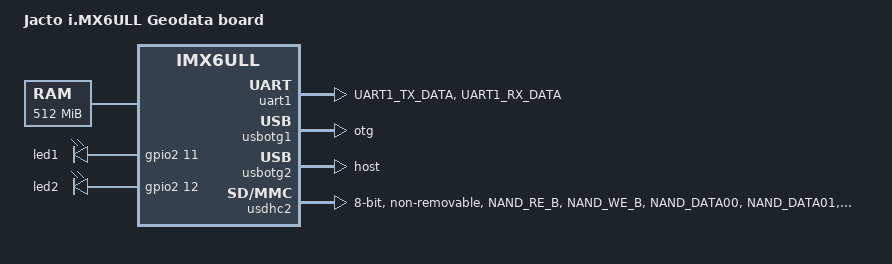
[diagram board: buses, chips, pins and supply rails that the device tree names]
// SPDX-License-Identifier: (GPL-2.0 OR MIT)

/dts-v1/;

#include "imx6ull.dtsi"
#include <dt-bindings/gpio/gpio.h>
/ {
	model = "Jacto i.MX6ULL Geodata board";
	compatible = "jacto,imx6ull-geodata", "fsl,imx6ull";

	chosen {
		stdout-path = &uart1;
	};
	
	aliases {
		mmc0 = &usdhc2;
	};

	memory@80000000 {
		device_type = "memory";
		reg = <0x80000000 0x20000000>;
	};

	leds {
		compatible = "gpio-leds";
		pinctrl-names = "default";
		pinctrl-0 = <&pinctrl_gpio_leds>;

		led1 {
			gpios = <&gpio2 11 GPIO_ACTIVE_HIGH>;
			default-state = "off";
		};

		led2 {
			gpios = <&gpio2 12 GPIO_ACTIVE_HIGH>;
			default-state = "off";
		};
	};
};

&uart1 {
	pinctrl-names = "default";
	pinctrl-0 = <&pinctrl_uart1>;
	status = "okay";
};

&usbotg1 {
	dr_mode = "otg";
	status = "okay";
};

&usbotg2 {
	dr_mode = "host";
	disable-over-current;
	status = "okay";
};

&usbphy1 {
	fsl,tx-d-cal = <106>;
};

&usbphy2 {
	fsl,tx-d-cal = <106>;
};

&usdhc2 {
	pinctrl-names = "default";
	pinctrl-0 = <&pinctrl_usdhc2>;
	no-1-8-v;
	non-removable;
	bus-width = <8>;
	keep-power-in-suspend;
	wakeup-source;
	status = "okay";
};

&iomuxc {
	pinctrl-names = "default";

	pinctrl_gpio_leds: gpio-ledsgrp {
		fsl,pins = <
			MX6UL_PAD_ENET2_TX_DATA0__GPIO2_IO11	0x1b0b1
			MX6UL_PAD_ENET2_TX_DATA1__GPIO2_IO12	0x1b0b1
		>;
	};

	pinctrl_uart1: uart2grp {
		fsl,pins = <
			MX6UL_PAD_UART1_TX_DATA__UART1_DCE_TX	0x1b0b1
			MX6UL_PAD_UART1_RX_DATA__UART1_DCE_RX	0x1b0b1
		>;
	};

	pinctrl_usdhc2: usdhc2grp {
		fsl,pins = <
			MX6UL_PAD_NAND_RE_B__USDHC2_CLK	0x17059
			MX6UL_PAD_NAND_WE_B__USDHC2_CMD	0x17059
			MX6UL_PAD_NAND_DATA00__USDHC2_DATA0	0x17059
			MX6UL_PAD_NAND_DATA01__USDHC2_DATA1	0x17059
			MX6UL_PAD_NAND_DATA02__USDHC2_DATA2	0x17059
			MX6UL_PAD_NAND_DATA03__USDHC2_DATA3	0x17059
			MX6UL_PAD_NAND_DATA04__USDHC2_DATA4	0x17059
			MX6UL_PAD_NAND_DATA05__USDHC2_DATA5	0x17059
			MX6UL_PAD_NAND_DATA06__USDHC2_DATA6	0x17059
			MX6UL_PAD_NAND_DATA07__USDHC2_DATA7	0x17059
		>;
	};
};
